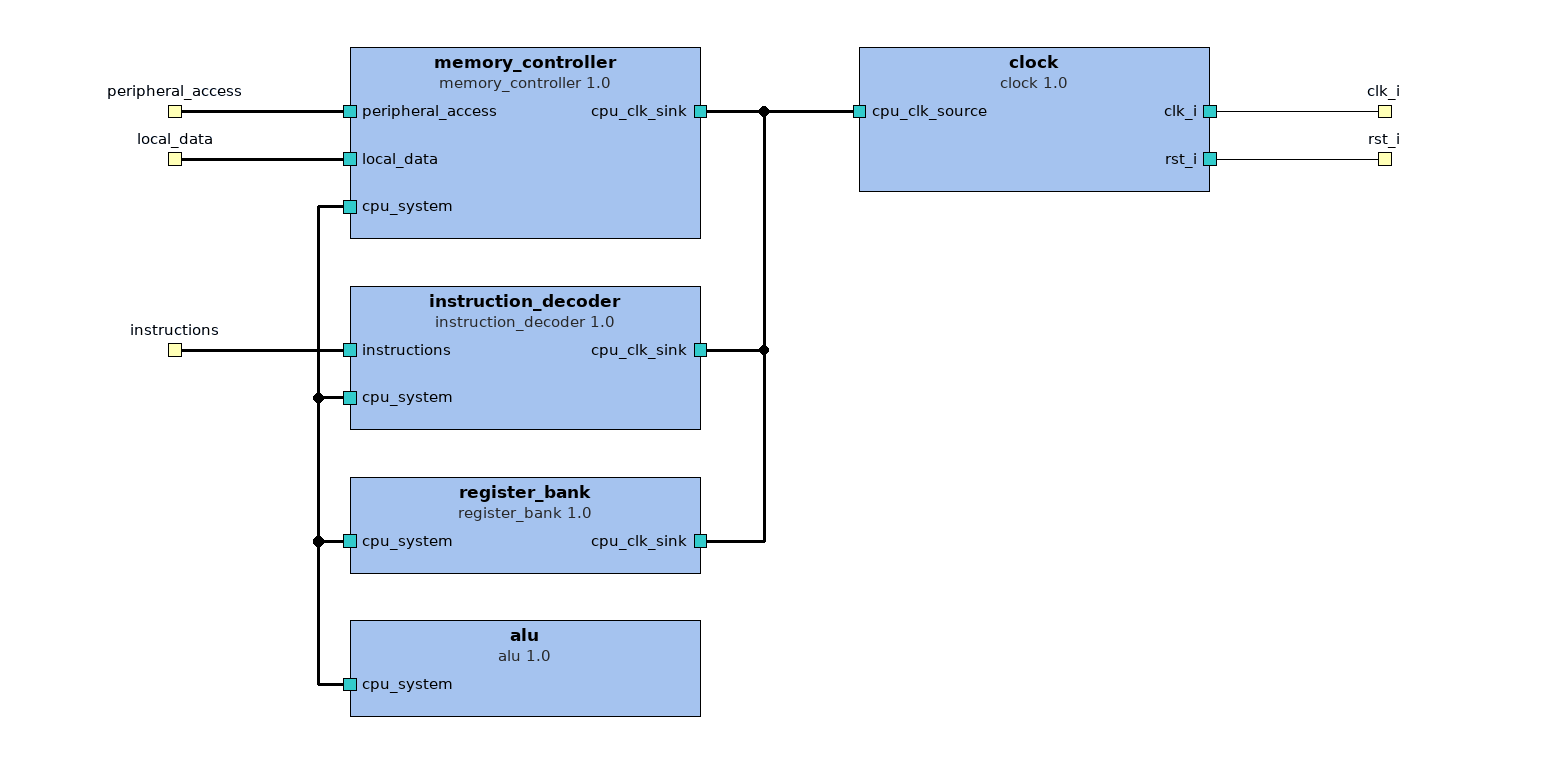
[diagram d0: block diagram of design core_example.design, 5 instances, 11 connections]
<?xml version="1.0" encoding="UTF-8"?>
<ipxact:design xmlns:xsi="http://www.w3.org/2001/XMLSchema-instance" xmlns:ipxact="http://www.accellera.org/XMLSchema/IPXACT/1685-2014" xmlns:kactus2="http://kactus2.cs.tut.fi" xsi:schemaLocation="http://www.accellera.org/XMLSchema/IPXACT/1685-2014 http://www.accellera.org/XMLSchema/IPXACT/1685-2014/index.xsd"><ipxact:vendor>tuni.fi</ipxact:vendor><ipxact:library>cpu.subsystem</ipxact:library><ipxact:name>core_example.design</ipxact:name>
 <ipxact:version>1.0</ipxact:version><ipxact:componentInstances>
 <ipxact:componentInstance><ipxact:instanceName>alu</ipxact:instanceName><ipxact:componentRef vendor="tuni.fi" library="cpu.logic" name="alu" version="1.0"><ipxact:configurableElementValues><ipxact:configurableElementValue referenceId="uuid_f0339227_14b3_43a1_81d2_5e1c989aa537">uuid_c9e87023_cbe0_4790_8754_d38e8e83e2fe</ipxact:configurableElementValue></ipxact:configurableElementValues></ipxact:componentRef></ipxact:componentInstance>
 <ipxact:componentInstance><ipxact:instanceName>clock</ipxact:instanceName><ipxact:componentRef vendor="tuni.fi" library="cpu.logic" name="clock" version="1.0"/></ipxact:componentInstance>
 <ipxact:componentInstance><ipxact:instanceName>instruction_decoder</ipxact:instanceName>
  <ipxact:componentRef vendor="tuni.fi" library="cpu.logic" name="instruction_decoder" version="1.0">
   <ipxact:configurableElementValues><ipxact:configurableElementValue referenceId="uuid_9641f7b1_19d4_49d4_95c8_cae15e0c612d">uuid_c9e87023_cbe0_4790_8754_d38e8e83e2fe</ipxact:configurableElementValue><ipxact:configurableElementValue referenceId="uuid_9740ce67_db99_462e_9734_39ecbe404446">uuid_bf948d2f_e2d7_497a_b33c_5e35aad3f1c3</ipxact:configurableElementValue><ipxact:configurableElementValue referenceId="uuid_762fbf84_805d_4c16_bb3b_39c8d2b431a2">uuid_115109b3_75d9_4a62_8201_5c4e068ac352</ipxact:configurableElementValue>
    <ipxact:configurableElementValue referenceId="uuid_1ee25c55_7b66_4be1_bb94_c97e8779396d">uuid_32a4e121_f983_437b_9ff4_b512d71f8267</ipxact:configurableElementValue>
   </ipxact:configurableElementValues>
  </ipxact:componentRef>
 </ipxact:componentInstance>
 <ipxact:componentInstance><ipxact:instanceName>memory_controller</ipxact:instanceName>
  <ipxact:componentRef vendor="tuni.fi" library="cpu.logic" name="memory_controller" version="1.0">
   <ipxact:configurableElementValues><ipxact:configurableElementValue referenceId="uuid_2ffce492_7d27_445c_b34f_0e1165008ece">uuid_01325d18_5984_41cd_b542_a292f0312d73</ipxact:configurableElementValue><ipxact:configurableElementValue referenceId="uuid_e3b353a9_9c84_4f26_a9bf_8271de5b015c">uuid_11e311ec_728c_41e5_a8bd_5a5c19862e23</ipxact:configurableElementValue><ipxact:configurableElementValue referenceId="uuid_e835eae8_6310_47c7_a791_8ee2df766ed3">uuid_6252a87b_fe78_4b09_9381_e67cf5d578f1</ipxact:configurableElementValue>
    <ipxact:configurableElementValue referenceId="uuid_11795f77_041d_4548_bcf3_cd41b67482a1">uuid_c9e87023_cbe0_4790_8754_d38e8e83e2fe</ipxact:configurableElementValue><ipxact:configurableElementValue referenceId="uuid_b6bb8c34_3d40_4189_b91d_6cdce56c33f1">uuid_5c010f8b_47c3_4bfd_9e82_0253bc69ef28</ipxact:configurableElementValue>
   </ipxact:configurableElementValues>
  </ipxact:componentRef>
 </ipxact:componentInstance>
 <ipxact:componentInstance><ipxact:instanceName>register_bank</ipxact:instanceName>
  <ipxact:componentRef vendor="tuni.fi" library="cpu.logic" name="register_bank" version="1.0">
   <ipxact:configurableElementValues><ipxact:configurableElementValue referenceId="uuid_8cf9f778_bf4e_4da5_9647_baa7ec8c8ddf">uuid_c9e87023_cbe0_4790_8754_d38e8e83e2fe</ipxact:configurableElementValue><ipxact:configurableElementValue referenceId="uuid_65a04e84_85d1_4de3_93bf_fa3c61a6e01b">uuid_01325d18_5984_41cd_b542_a292f0312d73</ipxact:configurableElementValue><ipxact:configurableElementValue referenceId="uuid_1d5eec35_c148_4fff_b0be_119fe9627877">uuid_115109b3_75d9_4a62_8201_5c4e068ac352</ipxact:configurableElementValue>
   </ipxact:configurableElementValues>
  </ipxact:componentRef>
 </ipxact:componentInstance>
</ipxact:componentInstances><ipxact:interconnections>
 <ipxact:interconnection><ipxact:name>memory_controller_cpu_system_to_alu_cpu_system</ipxact:name><ipxact:activeInterface componentRef="memory_controller" busRef="cpu_system"/><ipxact:activeInterface componentRef="alu" busRef="cpu_system"/></ipxact:interconnection>
 <ipxact:interconnection><ipxact:name>clock_cpu_clk_source_to_register_bank_cpu_clk_sink</ipxact:name><ipxact:activeInterface componentRef="clock" busRef="cpu_clk_source"/><ipxact:activeInterface componentRef="register_bank" busRef="cpu_clk_sink"/></ipxact:interconnection>
 <ipxact:interconnection><ipxact:name>clock_cpu_clk_source_to_memory_controller_cpu_clk_sink</ipxact:name><ipxact:activeInterface componentRef="clock" busRef="cpu_clk_source"/><ipxact:activeInterface componentRef="memory_controller" busRef="cpu_clk_sink"/></ipxact:interconnection>
 <ipxact:interconnection><ipxact:name>instruction_decoder_cpu_clk_sink_to_clock_cpu_clk_source</ipxact:name><ipxact:activeInterface componentRef="instruction_decoder" busRef="cpu_clk_sink"/><ipxact:activeInterface componentRef="clock" busRef="cpu_clk_source"/></ipxact:interconnection>
 <ipxact:interconnection><ipxact:name>register_bank_cpu_system_to_alu_cpu_system</ipxact:name><ipxact:activeInterface componentRef="register_bank" busRef="cpu_system"/><ipxact:activeInterface componentRef="alu" busRef="cpu_system"/></ipxact:interconnection>
 <ipxact:interconnection><ipxact:name>instruction_decoder_cpu_system_to_alu_cpu_system</ipxact:name><ipxact:activeInterface componentRef="instruction_decoder" busRef="cpu_system"/><ipxact:activeInterface componentRef="alu" busRef="cpu_system"/></ipxact:interconnection>
 <ipxact:interconnection><ipxact:name>memory_controller_peripheral_access_to_peripheral_access</ipxact:name><ipxact:activeInterface componentRef="memory_controller" busRef="peripheral_access"/><ipxact:hierInterface busRef="peripheral_access"/></ipxact:interconnection>
 <ipxact:interconnection><ipxact:name>instruction_decoder_instruction_feed_to_instructions</ipxact:name><ipxact:activeInterface componentRef="instruction_decoder" busRef="instructions"/><ipxact:hierInterface busRef="instructions"/></ipxact:interconnection>
 <ipxact:interconnection><ipxact:name>memory_controller_local_data_to_local_data</ipxact:name><ipxact:activeInterface componentRef="memory_controller" busRef="local_data"/><ipxact:hierInterface busRef="local_data"/></ipxact:interconnection>
</ipxact:interconnections><ipxact:adHocConnections>
 <ipxact:adHocConnection><ipxact:name>clock_clk_i_to_clk_i</ipxact:name><ipxact:portReferences><ipxact:internalPortReference componentRef="clock" portRef="clk_i"/><ipxact:externalPortReference portRef="clk_i"/></ipxact:portReferences></ipxact:adHocConnection>
 <ipxact:adHocConnection><ipxact:name>clock_rst_i_to_rst_i</ipxact:name><ipxact:portReferences><ipxact:internalPortReference componentRef="clock" portRef="rst_i"/><ipxact:externalPortReference portRef="rst_i"/></ipxact:portReferences></ipxact:adHocConnection>
</ipxact:adHocConnections><ipxact:parameters>
 <ipxact:parameter parameterId="uuid_5c010f8b_47c3_4bfd_9e82_0253bc69ef28" resolve="user" usageCount="1"><ipxact:name>ADDR_WIDTH</ipxact:name><ipxact:description>Width of the addresses.</ipxact:description><ipxact:value>16</ipxact:value></ipxact:parameter>
 <ipxact:parameter parameterId="uuid_c9e87023_cbe0_4790_8754_d38e8e83e2fe" resolve="user" usageCount="4"><ipxact:name>DATA_WIDTH</ipxact:name><ipxact:description>Width for data in registers and instructions.</ipxact:description><ipxact:value>32</ipxact:value></ipxact:parameter>
 <ipxact:parameter parameterId="uuid_bf948d2f_e2d7_497a_b33c_5e35aad3f1c3" resolve="user" usageCount="1"><ipxact:name>INSTRUCTION_ADDRESS_WIDTH</ipxact:name><ipxact:description>Width of an instruction address.</ipxact:description><ipxact:value>8</ipxact:value></ipxact:parameter>
 <ipxact:parameter parameterId="uuid_32a4e121_f983_437b_9ff4_b512d71f8267" resolve="user" usageCount="1"><ipxact:name>INSTRUCTION_WIDTH</ipxact:name><ipxact:description>Total width of an instruction</ipxact:description><ipxact:value>28</ipxact:value></ipxact:parameter>
 <ipxact:parameter parameterId="uuid_632c8042_cfdf_4a17_974d_e8b4a104cba2" resolve="immediate"><ipxact:name>OP_CODE_WIDTH</ipxact:name><ipxact:description>Bits reserved for operation identifiers.</ipxact:description><ipxact:value>4</ipxact:value></ipxact:parameter>
 <ipxact:parameter parameterId="uuid_11e311ec_728c_41e5_a8bd_5a5c19862e23" resolve="user" usageCount="1"><ipxact:name>PERIPHERAL_BASE</ipxact:name><ipxact:description>The first address for peripherals.</ipxact:description><ipxact:value>128</ipxact:value></ipxact:parameter>
 <ipxact:parameter parameterId="uuid_01325d18_5984_41cd_b542_a292f0312d73" resolve="immediate" usageCount="3"><ipxact:name>REGISTER_COUNT</ipxact:name><ipxact:description>How many registers are supported in the core.</ipxact:description><ipxact:value>8</ipxact:value></ipxact:parameter>
 <ipxact:parameter parameterId="uuid_115109b3_75d9_4a62_8201_5c4e068ac352" resolve="immediate" usageCount="2"><ipxact:name>REGISTER_ID_WIDTH</ipxact:name><ipxact:description>Bits reserved for identification a single register.</ipxact:description><ipxact:value>$clog2(uuid_01325d18_5984_41cd_b542_a292f0312d73)</ipxact:value></ipxact:parameter>
 <ipxact:parameter parameterId="uuid_6252a87b_fe78_4b09_9381_e67cf5d578f1" resolve="user" usageCount="1"><ipxact:name>SUPPORTED_MEMORY</ipxact:name><ipxact:description>How much the system supports memory in total.</ipxact:description><ipxact:value>512</ipxact:value></ipxact:parameter>
</ipxact:parameters></ipxact:design>

